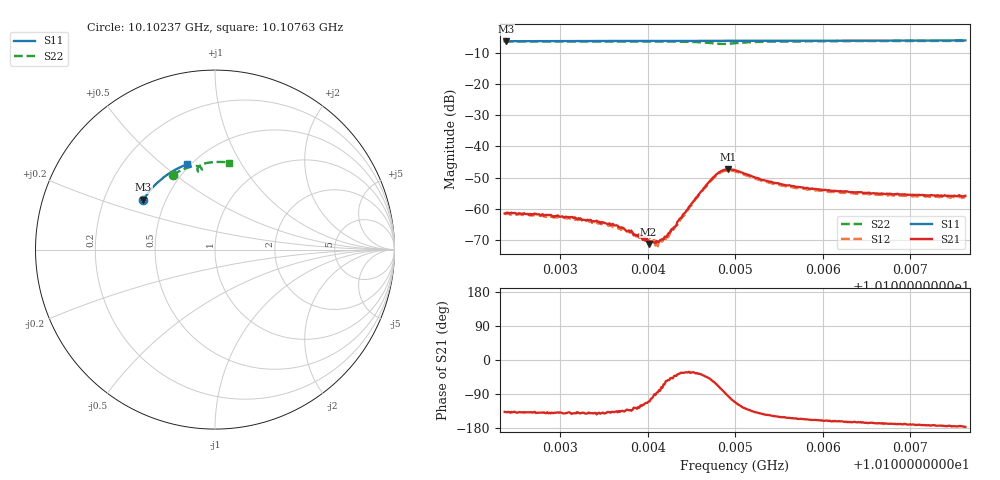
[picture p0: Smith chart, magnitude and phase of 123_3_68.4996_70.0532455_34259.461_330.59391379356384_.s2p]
#  HZ  S  RI  R  50.00
! Rohde & Schwarz Vector Network Analyzer
! Rohde-Schwarz,ZNB20-2Port,1311601062101988,3.16
! Created: UTC 3/20/2024, 5:09:12 PM
! freq[Hz]  re:S11  im:S11  re:S21  im:S21  re:S12  im:S12  re:S22  im:S22
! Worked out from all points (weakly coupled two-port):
!   401 points, 10.10237 GHz to 10.10763 GHz, reference 50 ohm
!   highest |S21| = -47.30 dB at 10.10492 GHz (marker M1); lowest = -71.2 dB at 10.10401 GHz (marker M2)
!   lowest |S11| = -6.3 dB at 10.10238 GHz (marker M3), VSWR 2.89, Z = 18.8 + j13.6 ohm
!   |S11| at or under -10 dB: nowhere
!   |S22| runs from -7.1 to -6.2 dB; largest |S21 - S12| = 0.00042
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1.0102366e10  -0.3994 0.277  -0.000615 -0.000578  -0.000556 -0.000602  -0.2361 0.4161
1.0102379e10  -0.3989 0.2775  -0.000627 -0.000577  -0.000577 -0.000605  -0.2353 0.4166
1.0102866e10  -0.3825 0.3023  -0.00062 -0.000505  -0.00055 -0.000515  -0.2077 0.4323
1.0103247e10  -0.3685 0.3208  -0.000501 -0.000425  -0.000475 -0.000457  -0.1849 0.4438
1.0103629e10  -0.3538 0.3386  -0.000393 -0.000372  -0.000342 -0.000377  -0.1606 0.4537
1.01038e10  -0.3468 0.3465  -0.000286 -0.000315  -0.00022 -0.000358  -0.1493 0.4577
1.0103866e10  -0.3441 0.3494  -0.000221 -0.000305  -0.000196 -0.000305  -0.1446 0.459
1.0103892e10  -0.3432 0.3506  -0.000202 -0.0003  -0.000197 -0.000316  -0.1428 0.4597
1.010401e10  -0.3382 0.3556  -9.32e-05 -0.000258  -6.37e-05 -0.000302  -0.1343 0.4621
1.0104063e10  -0.3359 0.358  -3.15e-05 -0.000292  1.25e-05 -0.00031  -0.1306 0.4629
1.0104129e10  -0.333 0.361  5.18e-05 -0.000289  9.16e-05 -0.000296  -0.1255 0.4641
1.0104234e10  -0.3286 0.3655  0.000243 -0.00032  0.000223 -0.000271  -0.117 0.4655
1.01043e10  -0.3258 0.3681  0.000374 -0.000343  0.000377 -0.000284  -0.1115 0.466
1.0104563e10  -0.314 0.3791  0.00128 -0.000871  0.00131 -0.000735  -0.0864 0.4623
1.0104747e10  -0.3056 0.3863  0.00175 -0.00267  0.00192 -0.00237  -0.0732 0.4444
1.0104839e10  -0.3014 0.3899  0.000938 -0.00392  0.00125 -0.00366  -0.0792 0.433
1.0104918e10  -0.2978 0.3928  -0.000357 -0.0043  -3.65e-05 -0.00415  -0.0904 0.4327
1.0104997e10  -0.2942 0.3959  -0.00152 -0.00388  -0.00114 -0.00381  -0.0972 0.4407
1.0105445e10  -0.2728 0.4125  -0.00221 -0.00137  -0.002 -0.00152  -0.0718 0.4746
1.0105879e10  -0.251 0.4274  -0.00198 -0.000791  -0.00177 -0.000937  -0.0399 0.4835
1.0106761e10  -0.2045 0.4536  -0.00171 -0.000348  -0.00159 -0.00049  0.0197 0.4885
1.0107629e10  -0.1563 0.4744  -0.00162 -0.000106  -0.00149 -0.000245  0.0762 0.4852
